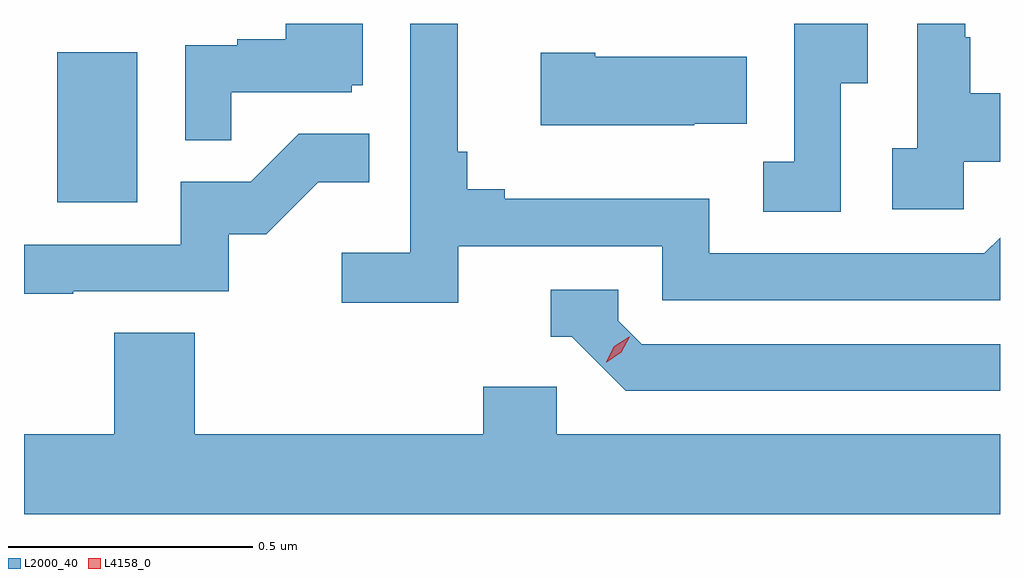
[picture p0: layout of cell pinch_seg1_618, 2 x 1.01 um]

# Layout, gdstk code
import gdstk
lib = gdstk.Library(unit=1e-6, precision=1e-09)
def R(c, l, rs):  # rectangles x0, y0, x1, y1
    for r in rs: c.add(gdstk.rectangle(r[:2], r[2:], *l))
def P(c, l, *ps):  # polygons
    for p in ps: c.add(gdstk.Polygon(p, *l))
L2000_40 = (2000, 40)
L4158_0 = (4158, 0)

pinch_seg1_618 = lib.new_cell('pinch_seg1_618')
R(pinch_seg1_618, L2000_40, [(1089.284,515.076,1089.448,515.383)])
P(pinch_seg1_618, L2000_40, [(1090.89,515.32),(1090.945,515.32),(1090.945,515.442),(1090.794,515.442),(1090.794,515.159),(1090.731,515.159),(1090.731,515.056),(1090.89,515.056)],
  [(1090.106,514.986),(1090.524,514.986),(1090.524,514.875),(1091.216,514.875),(1091.216,515.003),(1091.184,514.971),(1090.62,514.971),(1090.62,515.083),(1090.201,515.083),(1090.201,515.102),(1090.124,515.102),(1090.124,515.179),(1090.105,515.179),(1090.105,515.442),(1090.008,515.442),(1090.008,514.972),(1089.867,514.972),(1089.867,514.87),(1090.106,514.87)],
  [(1089.641,515.301),(1089.888,515.301),(1089.888,515.316),(1089.91,515.316),(1089.91,515.442),(1089.752,515.442),(1089.752,515.41),(1089.653,515.41),(1089.653,515.397),(1089.546,515.397),(1089.546,515.203),(1089.641,515.203)],
  [(1091.142,515.159),(1091.216,515.159),(1091.216,515.299),(1091.155,515.299),(1091.155,515.414),(1091.145,515.414),(1091.145,515.442),(1091.046,515.442),(1091.046,515.186),(1090.995,515.186),(1090.995,515.061),(1091.142,515.061)],
  [(1090.589,515.237),(1090.697,515.237),(1090.697,515.374),(1090.387,515.374),(1090.387,515.382),(1090.275,515.382),(1090.275,515.234),(1090.589,515.234)],
  [(1089.317,514.893),(1089.636,514.893),(1089.636,515.01),(1089.712,515.01),(1089.819,515.117),(1089.923,515.117),(1089.923,515.216),(1089.779,515.216),(1089.681,515.118),(1089.537,515.118),(1089.537,514.989),(1089.216,514.989),(1089.216,514.888),(1089.317,514.888)],
  [(1091.216,514.785),(1090.482,514.785),(1090.434,514.833),(1090.434,514.896),(1090.295,514.896),(1090.295,514.8),(1090.338,514.8),(1090.449,514.689),(1091.216,514.689)],
  [(1091.216,514.6),(1090.308,514.6),(1090.308,514.698),(1090.157,514.698),(1090.157,514.6),(1089.566,514.6),(1089.566,514.808),(1089.401,514.808),(1089.401,514.6),(1089.216,514.6),(1089.216,514.436),(1091.216,514.436)])
P(pinch_seg1_618, L4158_0, [(1090.409,514.748),(1090.409,514.749),(1090.426,514.781),(1090.456,514.8),(1090.457,514.8),(1090.457,514.8),(1090.44,514.768),(1090.41,514.748)])

lib.write_gds('pinch_seg1_618.gds')
